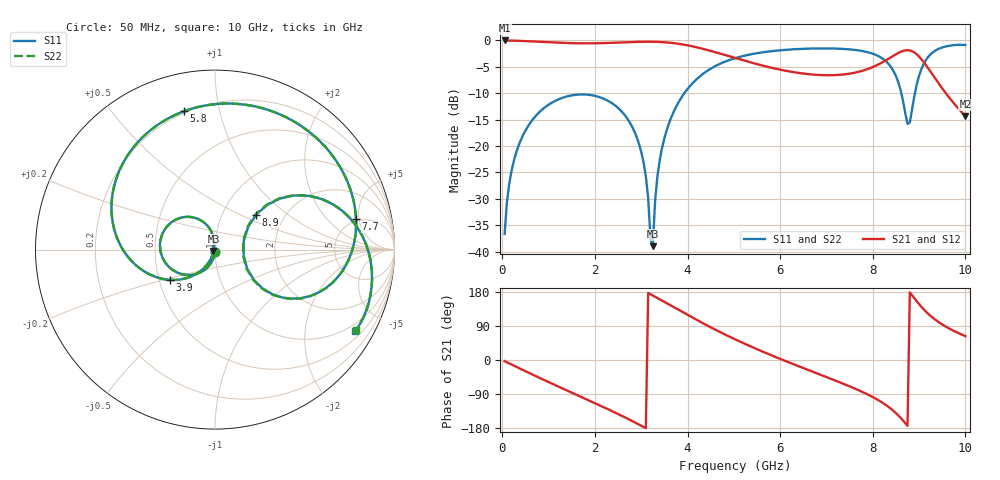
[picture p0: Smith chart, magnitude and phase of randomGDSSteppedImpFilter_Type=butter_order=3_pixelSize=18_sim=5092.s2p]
! freq	dB(S11)	phase(S11)	dB(S12)	phase(S12)
!  dB(S21)	phase(S21)	dB(S22)	phase(S22)
!S-par simulation data
#  GHz  S  DB  R 50
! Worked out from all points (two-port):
!   200 points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, 50 MHz to 10 GHz, reference 50 ohm
!   highest |S21| = -0.01 dB at 50 MHz (marker M1); lowest = -14.3 dB at 10 GHz (marker M2)
!   |S21| within 3 dB of the highest: start of sweep to 4.904 GHz; 8.426 GHz to 8.994 GHz (568.2 MHz wide, 6.52 % of centre)
!   lowest |S11| = -38.9 dB at 3.25 GHz (marker M3), VSWR 1.02, Z = 49.1 - j0.684 ohm
!   |S11| at or under -10 dB: start of sweep to 3.931 GHz; 8.616 GHz to 8.91 GHz (293.7 MHz wide, 3.35 % of centre)
!   |S22| runs from -38.7 to -0.8 dB; largest |S21 - S12| = 0
!   S11 on the Smith chart (normalised r, x): 50 MHz: 1.00, -0.03; 3.9 GHz: 0.57, -0.21; 5.8 GHz: 0.19, +0.78; 7.7 GHz: 4.77, +4.53; 8.9 GHz: 1.44, +0.62; 10 GHz: 0.72, -3.58
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0.05  -36.62 -92.5  -0.01 -3.0  -0.01 -3.0  -36.62 -92.5
0.2  -24.66 -102.1  -0.04 -12.0  -0.04 -12.0  -24.66 -102.1
0.5  -17.07 -120.1  -0.13 -29.6  -0.13 -29.6  -17.07 -120.1
1.1  -11.63 -154.5  -0.39 -63.9  -0.39 -63.9  -11.63 -154.5
1.75  -10.22 169.6  -0.55 -99.9  -0.55 -99.9  -10.22 169.6
2.85  -17.18 107.4  -0.29 -163.9  -0.29 -163.9  -17.18 107.5
3.1  -25.76 95.8  -0.25 -179.9  -0.25 -179.9  -25.76 96.2
3.25  -38.94 -141.9  -0.25 170.2  -0.25 170.2  -38.73 -143.0
3.3  -30.30 -116.2  -0.26 166.9  -0.26 166.9  -30.26 -116.9
3.4  -22.65 -115.7  -0.30 160.1  -0.30 160.1  -22.64 -116.0
3.9  -10.38 -146.1  -0.77 125.9  -0.77 125.9  -10.38 -146.2
4.4  -5.91 -178.7  -1.75 92.6  -1.75 92.6  -5.91 -178.8
5.05  -3.30 142.4  -3.38 53.2  -3.38 53.2  -3.30 142.3
5.8  -2.05 102.7  -5.15 13.0  -5.15 13.0  -2.05 102.6
6.7  -1.53 59.5  -6.46 -30.8  -6.46 -30.8  -1.53 59.4
7.7  -1.90 12.1  -5.93 -80.1  -5.93 -80.1  -1.90 12.0
8.35  -4.54 -25.7  -3.42 -124.7  -3.42 -124.7  -4.54 -25.9
8.75  -15.79 -11.0  -1.85 -173.8  -1.85 -173.8  -15.96 -11.4
8.9  -10.42 40.4  -2.29 162.6  -2.29 162.6  -10.48 41.0
9.1  -4.45 30.0  -4.10 133.6  -4.10 133.6  -4.46 30.3
9.4  -1.69 5.5  -7.85 101.8  -7.85 101.8  -1.70 5.7
10  -0.88 -30.1  -14.34 63.0  -14.34 63.0  -0.87 -29.8
